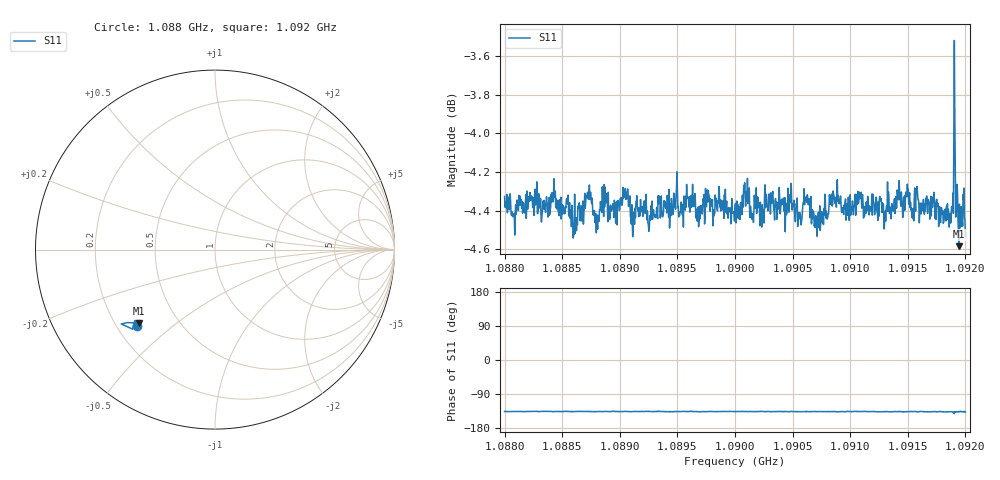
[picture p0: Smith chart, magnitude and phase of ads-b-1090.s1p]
! Calibrated averaged scanner-service zoom
# Hz S RI R 50
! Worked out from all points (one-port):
!   1001 points, 1.088 GHz to 1.092 GHz, reference 50 ohm
!   lowest |S11| = -4.6 dB at 1.09194 GHz (marker M1), VSWR 3.88, Z = 14.8 - j18.7 ohm
!   |S11| at or under -10 dB: nowhere
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1.088e9  -0.4359 -0.4235
1.0885e9  -0.4321 -0.418
1.088788e9  -0.4359 -0.4124
1.089e9  -0.4352 -0.4174
1.089244e9  -0.4315 -0.4143
1.0895e9  -0.4397 -0.4222
1.089632e9  -0.4405 -0.425
1.089688e9  -0.4352 -0.4121
1.089776e9  -0.4363 -0.4232
1.09e9  -0.4331 -0.4207
1.0905e9  -0.4378 -0.4167
1.090708e9  -0.4336 -0.4135
1.090896e9  -0.4426 -0.417
1.091e9  -0.4375 -0.4228
1.09136e9  -0.4426 -0.4126
1.0915e9  -0.4398 -0.4211
1.091536e9  -0.4301 -0.4186
1.091576e9  -0.4433 -0.4196
1.09162e9  -0.434 -0.422
1.091676e9  -0.4425 -0.415
1.091868e9  -0.435 -0.4157
1.091876e9  -0.4351 -0.4117
1.091888e9  -0.4414 -0.4107
1.091912e9  -0.454 -0.4209
1.09192e9  -0.4396 -0.4103
1.091928e9  -0.4476 -0.4176
1.091944e9  -0.4235 -0.4108
1.092e9  -0.4319 -0.4069
